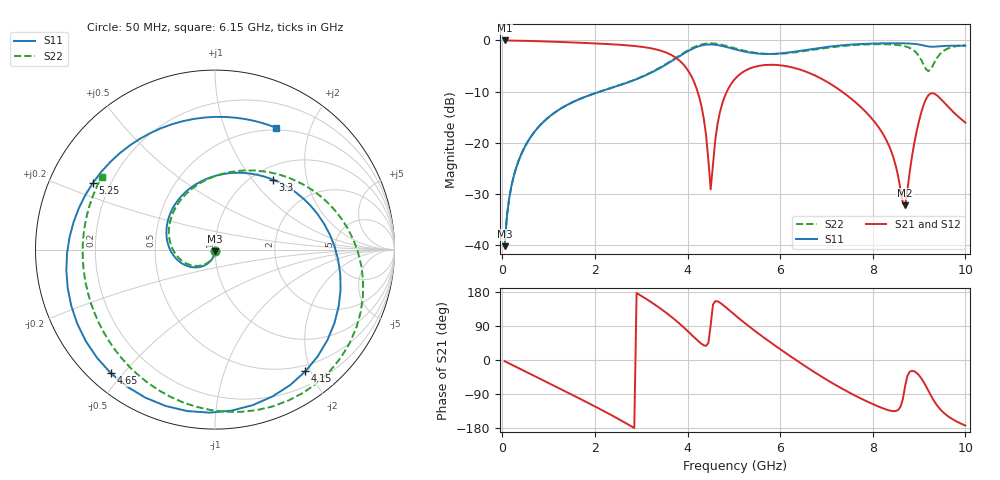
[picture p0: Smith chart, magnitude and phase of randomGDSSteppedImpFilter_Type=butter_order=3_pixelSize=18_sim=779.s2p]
! freq	dB(S11)	phase(S11)	dB(S12)	phase(S12)
!  dB(S21)	phase(S21)	dB(S22)	phase(S22)
!S-par simulation data
#  GHz  S  DB  R 50
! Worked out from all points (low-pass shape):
!   200 points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, 50 MHz to 10 GHz, reference 50 ohm
!   highest |S21| = -0.01 dB at 50 MHz (marker M1); lowest = -32.2 dB at 8.7 GHz (marker M2)
!   |S21| within 3 dB of the highest: start of sweep to 3.681 GHz
!   lowest |S11| = -40.2 dB at 50 MHz (marker M3), VSWR 1.02, Z = 50 - j0.977 ohm
!   |S11| at or under -10 dB: start of sweep to 2.109 GHz
!   |S22| runs from -40.2 to -0.6 dB; largest |S21 - S12| = 0
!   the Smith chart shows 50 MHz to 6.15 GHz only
!   S11 on the Smith chart (normalised r, x): 50 MHz: 1.00, -0.02; 3.3 GHz: 1.22, +1.28; 4.15 GHz: 0.41, -1.92; 4.65 GHz: 0.06, -0.46; 5.25 GHz: 0.13, +0.25; 6.15 GHz: 0.47, +1.51
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0.05  -40.19 -91.5  -0.01 -3.1  -0.01 -3.1  -40.20 -91.9
0.2  -28.32 -101.5  -0.03 -12.3  -0.03 -12.3  -28.33 -102.7
0.5  -20.55 -119.4  -0.08 -30.5  -0.08 -30.5  -20.56 -122.4
1.75  -11.16 166.4  -0.48 -106.8  -0.48 -106.8  -11.16 158.3
2.6  -8.56 109.5  -0.89 -161.9  -0.89 -161.9  -8.53 104.9
3.3  -5.91 50.4  -1.71 145.7  -1.71 145.7  -5.83 58.6
3.4  -5.42 40.4  -1.94 137.2  -1.94 137.2  -5.33 51.4
4.15  -1.46 -53.4  -8.30 59.2  -8.30 59.2  -1.27 -17.3
4.5  -0.79 -107.5  -29.09 92.1  -29.09 92.1  -0.56 -58.3
4.65  -0.91 -130.2  -16.22 154.7  -16.22 154.7  -0.69 -75.6
5.05  -1.79 175.2  -7.27 116.0  -7.27 116.0  -1.60 -116.6
5.25  -2.21 151.3  -5.89 96.1  -5.89 96.1  -2.06 -134.8
6.15  -2.39 63.6  -5.06 15.8  -5.06 15.8  -2.50 147.2
6.7  -1.67 21.0  -6.64 -29.0  -6.64 -29.0  -1.85 98.2
7.6  -0.77 -36.0  -11.88 -92.8  -11.88 -92.8  -0.91 24.1
8.35  -0.55 -73.8  -20.57 -132.9  -20.57 -132.9  -0.76 -31.7
8.7  -0.57 -89.7  -32.19 -67.4  -32.19 -67.4  -1.15 -65.4
8.95  -0.73 -101.1  -17.66 -34.4  -17.66 -34.4  -2.49 -109.2
9.1  -0.99 -107.3  -12.55 -58.2  -12.55 -58.2  -4.78 -163.9
9.3  -1.24 -113.0  -10.30 -103.3  -10.30 -103.3  -4.85 77.9
9.55  -1.08 -121.4  -12.23 -141.2  -12.23 -141.2  -1.92 5.9
10  -1.05 -139.6  -16.05 -172.9  -16.05 -172.9  -0.91 -38.6
